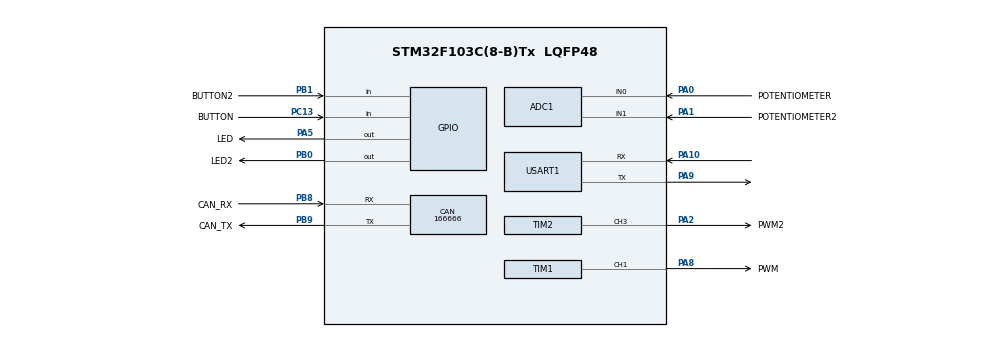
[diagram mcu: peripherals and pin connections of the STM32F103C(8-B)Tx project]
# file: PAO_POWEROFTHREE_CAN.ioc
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ADC1.Channel-0\#ChannelRegularConversion=ADC_CHANNEL_0
ADC1.NbrOfConversionFlag=1
ADC1.Rank-0\#ChannelRegularConversion=1
ADC1.SamplingTime-0\#ChannelRegularConversion=ADC_SAMPLETIME_1CYCLE_5
ADC1.master=1
CAN.CalculateBaudRate=166666
CAN.CalculateTimeBit=6000
CAN.CalculateTimeQuantum=2000.0
CAN.TTCM=DISABLE
Mcu.Family=STM32F1
Mcu.Name=STM32F103C(8-B)Tx
Mcu.Package=LQFP48
NVIC.PriorityGroup=NVIC_PRIORITYGROUP_4
PA0-WKUP.GPIO_Label=POTENTIOMETER
PA0-WKUP.Signal=ADCx_IN0
PA1.GPIO_Label=POTENTIOMETER2
PA1.Signal=ADCx_IN1
PA10.Mode=Asynchronous
PA10.Signal=USART1_RX
PA13.Mode=Serial_Wire
PA13.Signal=SYS_JTMS-SWDIO
PA14.Mode=Serial_Wire
PA14.Signal=SYS_JTCK-SWCLK
PA2.GPIO_Label=PWM2
PA2.Signal=S_TIM2_CH3
PA5.GPIO_Label=LED
PA5.Signal=GPIO_Output
PA8.GPIO_Label=PWM
PA8.Signal=S_TIM1_CH1
PA9.Mode=Asynchronous
PA9.Signal=USART1_TX
PB0.GPIO_Label=LED2
PB0.Signal=GPIO_Output
PB1.GPIO_Label=BUTTON2
PB1.GPIO_PuPd=GPIO_PULLUP
PB1.Signal=GPIO_Input
PB8.GPIO_Label=CAN_RX
PB8.Mode=CAN_Activate
PB8.Signal=CAN_RX
PB9.GPIO_Label=CAN_TX
PB9.Mode=CAN_Activate
PB9.Signal=CAN_TX
PC13-TAMPER-RTC.GPIO_Label=BUTTON
PC13-TAMPER-RTC.GPIO_PuPd=GPIO_PULLUP
PC13-TAMPER-RTC.Signal=GPIO_Input
ProjectManager.HeapSize=0x200
ProjectManager.StackSize=0x400
ProjectManager.TargetToolchain=CMake
RCC.APB1Freq_Value=8000000
RCC.APB2Freq_Value=8000000
SH.ADCx_IN0.0=ADC1_IN0,IN0
SH.ADCx_IN1.0=ADC1_IN1,IN1
SH.S_TIM1_CH1.0=TIM1_CH1,PWM Generation1 CH1
SH.S_TIM2_CH3.0=TIM2_CH3,PWM Generation3 CH3
TIM1.Channel-PWM\ Generation1\ CH1=TIM_CHANNEL_1
TIM2.Channel-PWM\ Generation3\ CH3=TIM_CHANNEL_3
USART1.VirtualMode=VM_ASYNC
board=custom

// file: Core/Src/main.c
/* USER CODE BEGIN Header */
/**
  ******************************************************************************
  * @file           : main.c
  * @brief          : Main program body
  ******************************************************************************
  * @attention
  *
  * Copyright (c) 2025 STMicroelectronics.
  * All rights reserved.
  *
  * This software is licensed under terms that can be found in the LICENSE file
  * in the root directory of this software component.
  * If no LICENSE file comes with this software, it is provided AS-IS.
  *
  ******************************************************************************
  */
/* USER CODE END Header */
#include "main.h"

/* USER CODE BEGIN PD */
#define BLINK_DELAY 500 // Blink interval in milliseconds
/* USER CODE END PD */

ADC_HandleTypeDef hadc1;

CAN_HandleTypeDef hcan;

TIM_HandleTypeDef htim1;
TIM_HandleTypeDef htim2;

UART_HandleTypeDef huart1;

/* USER CODE BEGIN PV */
// static uint8_t led_state = 0;         // LED state on PA5
// static uint32_t last_button_press = 0; // Debounce variable for first button
// static uint16_t adc_value = 0;         // ADC reading from PA0
// static uint32_t last_pwm_value = 0;    // Last PWM value for first potentiometer

// static uint8_t led2_state = 0;         // LED state on PB0
// static uint32_t last_button2_press = 0; // Debounce variable for second button
// static uint16_t adc2_value = 0;         // ADC reading from PA1
// static uint32_t last_pwm2_value = 0;    // Last PWM value for second potentiometer

static uint8_t led_state = 0;         // LED state on PA5 (0 = OFF, 1 = ON during blink)
static uint32_t last_button_press = 0; // Debounce variable for first button
static uint16_t adc_value = 0;         // ADC reading from PA0
static uint32_t last_pwm_value = 0;    // Last PWM value for first potentiometer
static uint32_t last_blink_time = 0;   // Time of last blink toggle
static uint8_t blink_enabled = 0;      // Flag to enable/disable blinking for first LED

static uint8_t led2_state = 0;         // LED state on PB0 (0 = OFF, 1 = ON during blink)
static uint32_t last_button2_press = 0; // Debounce variable for second button
static uint16_t adc2_value = 0;         // ADC reading from PA1
static uint32_t last_pwm2_value = 0;    // Last PWM value for second potentiometer
static uint32_t last_blink2_time = 0;   // Time of last blink toggle for second LED
static uint8_t blink2_enabled = 0;      // Flag to enable/disable blinking for second LED
/* USER CODE END PV */

void SystemClock_Config(void);
static void MX_GPIO_Init(void);
static void MX_ADC1_Init(void);
static void MX_TIM1_Init(void);
static void MX_USART1_UART_Init(void);
static void MX_CAN_Init(void);
static void MX_TIM2_Init(void);
/* USER CODE BEGIN PFP */
void send_can_message(uint32_t id, uint8_t *data, uint8_t len);

/* USER CODE END PFP */

int main(void)
{

  /* MCU Configuration--------------------------------------------------------*/

  /* Reset of all peripherals, Initializes the Flash interface and the Systick. */
  HAL_Init();

  /* Configure the system clock */
  SystemClock_Config();

  /* Initialize all configured peripherals */
  MX_GPIO_Init();
  MX_ADC1_Init();
  MX_TIM1_Init();
  MX_USART1_UART_Init();
  MX_CAN_Init();
  MX_TIM2_Init();
  /* USER CODE BEGIN 2 */
  HAL_TIM_PWM_Start(&htim1, TIM_CHANNEL_1); // Start PWM on PA8
  HAL_TIM_PWM_Start(&htim2, TIM_CHANNEL_3); // Start PWM on PA2 (TIM2_CH3)
  HAL_ADC_Start(&hadc1); // Start ADC on PA0
  if (HAL_CAN_Start(&hcan) != HAL_OK)
  {
    Error_Handler();
  }
  /* USER CODE END 2 */

  /* Infinite loop */
  while (1)
  {
// First Button and LED (Blink on/off toggle)
    if (HAL_GPIO_ReadPin(BUTTON_GPIO_Port, BUTTON_Pin) == GPIO_PIN_RESET &&
        (HAL_GetTick() - last_button_press) > 200)
    {
      last_button_press = HAL_GetTick();
      if (blink_enabled)
      {
        // Second press: Stop blinking and turn off
        blink_enabled = 0;
        led_state = 0;
        HAL_GPIO_WritePin(LED_GPIO_Port, LED_Pin, GPIO_PIN_RESET);
        char debug[32];
        snprintf(debug, sizeof(debug), "Button: OFF\r\n");
        HAL_UART_Transmit(&huart1, (uint8_t *)debug, strlen(debug), HAL_MAX_DELAY);
        uint8_t d = 0;
        send_can_message(0x101, &d, 1);
      }
      else
      {
        // First press: Start blinking
        blink_enabled = 1;
        last_blink_time = HAL_GetTick();
        char debug[32];
        snprintf(debug, sizeof(debug), "Button: BLINK\r\n");
        HAL_UART_Transmit(&huart1, (uint8_t *)debug, strlen(debug), HAL_MAX_DELAY);
        uint8_t d = 1;
        send_can_message(0x101, &d, 1);
      }
    }

    // Handle blinking for first LED
    if (blink_enabled && (HAL_GetTick() - last_blink_time) >= BLINK_DELAY)
    {
      led_state = !led_state; // Toggle LED state
      HAL_GPIO_WritePin(LED_GPIO_Port, LED_Pin, led_state ? GPIO_PIN_SET : GPIO_PIN_RESET);
      last_blink_time = HAL_GetTick();
    }

    // Second Button and LED (Blink on/off toggle)
    if (HAL_GPIO_ReadPin(BUTTON2_GPIO_Port, BUTTON2_Pin) == GPIO_PIN_RESET &&
        (HAL_GetTick() - last_button2_press) > 200)
    {
      last_button2_press = HAL_GetTick();
      if (blink2_enabled)
      {
        // Second press: Stop blinking and turn off
        blink2_enabled = 0;
        led2_state = 0;
        HAL_GPIO_WritePin(LED2_GPIO_Port, LED2_Pin, GPIO_PIN_RESET);
        char debug2[32];
        snprintf(debug2, sizeof(debug2), "Button2: OFF\r\n");
        HAL_UART_Transmit(&huart1, (uint8_t *)debug2, strlen(debug2), HAL_MAX_DELAY);
        uint8_t d2 = 0;
        send_can_message(0x103, &d2, 1);
      }
      else
      {
        // First press: Start blinking
        blink2_enabled = 1;
        last_blink2_time = HAL_GetTick();
        char debug2[32];
        snprintf(debug2, sizeof(debug2), "Button2: BLINK\r\n");
        HAL_UART_Transmit(&huart1, (uint8_t *)debug2, strlen(debug2), HAL_MAX_DELAY);
        uint8_t d2 = 1;
        send_can_message(0x103, &d2, 1);
      }
    }

    // Handle blinking for second LED
    if (blink2_enabled && (HAL_GetTick() - last_blink2_time) >= BLINK_DELAY)
    {
      led2_state = !led2_state; // Toggle LED state
      HAL_GPIO_WritePin(LED2_GPIO_Port, LED2_Pin, led2_state ? GPIO_PIN_SET : GPIO_PIN_RESET);
      last_blink2_time = HAL_GetTick();
    }

    // First Potentiometer and PWM (PA0, ADC1_IN0)
    if (HAL_ADC_PollForConversion(&hadc1, 10) == HAL_OK)
    {
      adc_value = HAL_ADC_GetValue(&hadc1);
      HAL_ADC_Start(&hadc1);

      uint32_t pwm = (adc_value * 1000) / 4095;
      __HAL_TIM_SET_COMPARE(&htim1, TIM_CHANNEL_1, pwm);

      if (abs((int)pwm - (int)last_pwm_value) > 10)
      {
        char dbg[48];
        snprintf(dbg, sizeof(dbg), "ADC:%u PWM:%lu\r\n", adc_value, pwm);
        HAL_UART_Transmit(&huart1, (uint8_t *)dbg, strlen(dbg), HAL_MAX_DELAY);

        uint8_t buf[4] = {
            (uint8_t)(adc_value >> 8),
            (uint8_t)(adc_value & 0xFF),
            (uint8_t)(pwm >> 8),
            (uint8_t)(pwm & 0xFF)};
        send_can_message(0x102, buf, 4);

        last_pwm_value = pwm;
      }
    }

    // Second Potentiometer and PWM (PA1, ADC1_IN1)
    if (HAL_ADC_PollForConversion(&hadc1, 10) == HAL_OK)
    {
      ADC_ChannelConfTypeDef sConfig = {0};
      sConfig.Channel = ADC_CHANNEL_1; // Switch to PA1
      sConfig.Rank = ADC_REGULAR_RANK_1;
      sConfig.SamplingTime = ADC_SAMPLETIME_1CYCLE_5;
      if (HAL_ADC_ConfigChannel(&hadc1, &sConfig) != HAL_OK)
      {
        Error_Handler();
      }

      adc2_value = HAL_ADC_GetValue(&hadc1);
      HAL_ADC_Start(&hadc1);

      uint32_t pwm2 = (adc2_value * 1000) / 4095;
      __HAL_TIM_SET_COMPARE(&htim2, TIM_CHANNEL_3, pwm2); // Use TIM2_CH3 on PA2

      if (abs((int)pwm2 - (int)last_pwm2_value) > 10)
      {
        char dbg2[48];
        snprintf(dbg2, sizeof(dbg2), "ADC2:%u PWM2:%lu\r\n", adc2_value, pwm2);
        HAL_UART_Transmit(&huart1, (uint8_t *)dbg2, strlen(dbg2), HAL_MAX_DELAY);

        uint8_t buf2[4] = {
            (uint8_t)(adc2_value >> 8),
            (uint8_t)(adc2_value & 0xFF),
            (uint8_t)(pwm2 >> 8),
            (uint8_t)(pwm2 & 0xFF)};
        send_can_message(0x104, buf2, 4);

        last_pwm2_value = pwm2;
      }

      // Switch back to PA0 for next cycle
      sConfig.Channel = ADC_CHANNEL_0;
      if (HAL_ADC_ConfigChannel(&hadc1, &sConfig) != HAL_OK)
      {
        Error_Handler();
      }
    }

    HAL_Delay(50);
  }
}

/**
  * @brief Send CAN message
  * @param id: CAN message ID
  * @param data: Pointer to data array
  * @param len: Length of data (1-8 bytes)
  * @retval None
  */
void send_can_message(uint32_t id, uint8_t *data, uint8_t len)
{
  CAN_TxHeaderTypeDef tx_header;
  uint32_t tx_mailbox;

  if (len < 1 || len > 8)
  {
    Error_Handler();
    return;
  }

  tx_header.StdId = id;
  tx_header.ExtId = 0;
  tx_header.IDE = CAN_ID_STD;
  tx_header.RTR = CAN_RTR_DATA;
  tx_header.DLC = len;
  tx_header.TransmitGlobalTime = DISABLE;

  if (HAL_CAN_AddTxMessage(&hcan, &tx_header, data, &tx_mailbox) != HAL_OK)
  {
#ifdef DEBUG
    HAL_UART_Transmit(&huart1, (uint8_t *)"CAN Tx Error\n", 12, HAL_MAX_DELAY);
#endif
    Error_Handler();
  }
}

void SystemClock_Config(void)
{
  RCC_OscInitTypeDef RCC_OscInitStruct = {0};
  RCC_ClkInitTypeDef RCC_ClkInitStruct = {0};
  RCC_PeriphCLKInitTypeDef PeriphClkInit = {0};

  /** Initializes the RCC Oscillators according to the specified parameters
  * in the RCC_OscInitTypeDef structure.
  */
  RCC_OscInitStruct.OscillatorType = RCC_OSCILLATORTYPE_HSI;
  RCC_OscInitStruct.HSIState = RCC_HSI_ON;
  RCC_OscInitStruct.HSICalibrationValue = RCC_HSICALIBRATION_DEFAULT;
  RCC_OscInitStruct.PLL.PLLState = RCC_PLL_NONE;
  if (HAL_RCC_OscConfig(&RCC_OscInitStruct) != HAL_OK)
  {
    Error_Handler();
  }

  /** Initializes the CPU, AHB and APB buses clocks
  */
  RCC_ClkInitStruct.ClockType = RCC_CLOCKTYPE_HCLK|RCC_CLOCKTYPE_SYSCLK
                              |RCC_CLOCKTYPE_PCLK1|RCC_CLOCKTYPE_PCLK2;
  RCC_ClkInitStruct.SYSCLKSource = RCC_SYSCLKSOURCE_HSI;
  RCC_ClkInitStruct.AHBCLKDivider = RCC_SYSCLK_DIV1;
  RCC_ClkInitStruct.APB1CLKDivider = RCC_HCLK_DIV1;
  RCC_ClkInitStruct.APB2CLKDivider = RCC_HCLK_DIV1;

  if (HAL_RCC_ClockConfig(&RCC_ClkInitStruct, FLASH_LATENCY_0) != HAL_OK)
  {
    Error_Handler();
  }
  PeriphClkInit.PeriphClockSelection = RCC_PERIPHCLK_ADC;
  PeriphClkInit.AdcClockSelection = RCC_ADCPCLK2_DIV2;
  if (HAL_RCCEx_PeriphCLKConfig(&PeriphClkInit) != HAL_OK)
  {
    Error_Handler();
  }
}

static void MX_ADC1_Init(void)
{

  ADC_ChannelConfTypeDef sConfig = {0};

  /** Common config
  */
  hadc1.Instance = ADC1;
  hadc1.Init.ScanConvMode = ADC_SCAN_DISABLE;
  hadc1.Init.ContinuousConvMode = DISABLE;
  hadc1.Init.DiscontinuousConvMode = DISABLE;
  hadc1.Init.ExternalTrigConv = ADC_SOFTWARE_START;
  hadc1.Init.DataAlign = ADC_DATAALIGN_RIGHT;
  hadc1.Init.NbrOfConversion = 1;
  if (HAL_ADC_Init(&hadc1) != HAL_OK)
  {
    Error_Handler();
  }

  /** Configure Regular Channel
  */
  sConfig.Channel = ADC_CHANNEL_0;
  sConfig.Rank = ADC_REGULAR_RANK_1;
  sConfig.SamplingTime = ADC_SAMPLETIME_1CYCLE_5;
  if (HAL_ADC_ConfigChannel(&hadc1, &sConfig) != HAL_OK)
  {
    Error_Handler();
  }

}

static void MX_CAN_Init(void)
{

  hcan.Instance = CAN1;
  hcan.Init.Mode = CAN_MODE_NORMAL;
  hcan.Init.SyncJumpWidth = CAN_SJW_1TQ;
  hcan.Init.Prescaler = 8;
  hcan.Init.TimeSeg1 = CAN_BS1_6TQ;
  hcan.Init.TimeSeg2 = CAN_BS2_1TQ;
  hcan.Init.TimeTriggeredMode = DISABLE;
  hcan.Init.AutoBusOff = DISABLE;
  hcan.Init.AutoWakeUp = DISABLE;
  hcan.Init.AutoRetransmission = DISABLE;
  hcan.Init.ReceiveFifoLocked = DISABLE;
  hcan.Init.TransmitFifoPriority = DISABLE;
  if (HAL_CAN_Init(&hcan) != HAL_OK)
  {
    Error_Handler();
  }

}

static void MX_TIM1_Init(void)
{

  TIM_MasterConfigTypeDef sMasterConfig = {0};
  TIM_OC_InitTypeDef sConfigOC = {0};
  TIM_BreakDeadTimeConfigTypeDef sBreakDeadTimeConfig = {0};

  htim1.Instance = TIM1;
  htim1.Init.Prescaler = 83;
  htim1.Init.CounterMode = TIM_COUNTERMODE_UP;
  htim1.Init.Period = 1000;
  htim1.Init.ClockDivision = TIM_CLOCKDIVISION_DIV1;
  htim1.Init.RepetitionCounter = 0;
  htim1.Init.AutoReloadPreload = TIM_AUTORELOAD_PRELOAD_DISABLE;
  if (HAL_TIM_PWM_Init(&htim1) != HAL_OK)
  {
    Error_Handler();
  }
  sMasterConfig.MasterOutputTrigger = TIM_TRGO_RESET;
  sMasterConfig.MasterSlaveMode = TIM_MASTERSLAVEMODE_DISABLE;
  if (HAL_TIMEx_MasterConfigSynchronization(&htim1, &sMasterConfig) != HAL_OK)
  {
    Error_Handler();
  }
  sConfigOC.OCMode = TIM_OCMODE_PWM1;
  sConfigOC.Pulse = 0;
  sConfigOC.OCPolarity = TIM_OCPOLARITY_HIGH;
  sConfigOC.OCNPolarity = TIM_OCNPOLARITY_HIGH;
  sConfigOC.OCFastMode = TIM_OCFAST_DISABLE;
  sConfigOC.OCIdleState = TIM_OCIDLESTATE_RESET;
  sConfigOC.OCNIdleState = TIM_OCNIDLESTATE_RESET;
  if (HAL_TIM_PWM_ConfigChannel(&htim1, &sConfigOC, TIM_CHANNEL_1) != HAL_OK)
  {
    Error_Handler();
  }
  sBreakDeadTimeConfig.OffStateRunMode = TIM_OSSR_DISABLE;
  sBreakDeadTimeConfig.OffStateIDLEMode = TIM_OSSI_DISABLE;
  sBreakDeadTimeConfig.LockLevel = TIM_LOCKLEVEL_OFF;
  sBreakDeadTimeConfig.DeadTime = 0;
  sBreakDeadTimeConfig.BreakState = TIM_BREAK_DISABLE;
  sBreakDeadTimeConfig.BreakPolarity = TIM_BREAKPOLARITY_HIGH;
  sBreakDeadTimeConfig.AutomaticOutput = TIM_AUTOMATICOUTPUT_DISABLE;
  if (HAL_TIMEx_ConfigBreakDeadTime(&htim1, &sBreakDeadTimeConfig) != HAL_OK)
  {
    Error_Handler();
  }
  HAL_TIM_MspPostInit(&htim1);

}

static void MX_TIM2_Init(void)
{

  TIM_MasterConfigTypeDef sMasterConfig = {0};
  TIM_OC_InitTypeDef sConfigOC = {0};

  htim2.Instance = TIM2;
  htim2.Init.Prescaler = 83;
  htim2.Init.CounterMode = TIM_COUNTERMODE_UP;
  htim2.Init.Period = 1000;
  htim2.Init.ClockDivision = TIM_CLOCKDIVISION_DIV1;
  htim2.Init.AutoReloadPreload = TIM_AUTORELOAD_PRELOAD_DISABLE;
  if (HAL_TIM_PWM_Init(&htim2) != HAL_OK)
  {
    Error_Handler();
  }
  sMasterConfig.MasterOutputTrigger = TIM_TRGO_RESET;
  sMasterConfig.MasterSlaveMode = TIM_MASTERSLAVEMODE_DISABLE;
  if (HAL_TIMEx_MasterConfigSynchronization(&htim2, &sMasterConfig) != HAL_OK)
  {
    Error_Handler();
  }
  sConfigOC.OCMode = TIM_OCMODE_PWM1;
  sConfigOC.Pulse = 0;
  sConfigOC.OCPolarity = TIM_OCPOLARITY_HIGH;
  sConfigOC.OCFastMode = TIM_OCFAST_DISABLE;
  if (HAL_TIM_PWM_ConfigChannel(&htim2, &sConfigOC, TIM_CHANNEL_3) != HAL_OK)
  {
    Error_Handler();
  }
  HAL_TIM_MspPostInit(&htim2);

}

static void MX_USART1_UART_Init(void)
{

  huart1.Instance = USART1;
  huart1.Init.BaudRate = 115200;
  huart1.Init.WordLength = UART_WORDLENGTH_8B;
  huart1.Init.StopBits = UART_STOPBITS_1;
  huart1.Init.Parity = UART_PARITY_NONE;
  huart1.Init.Mode = UART_MODE_TX_RX;
  huart1.Init.HwFlowCtl = UART_HWCONTROL_NONE;
  huart1.Init.OverSampling = UART_OVERSAMPLING_16;
  if (HAL_UART_Init(&huart1) != HAL_OK)
  {
    Error_Handler();
  }

}

static void MX_GPIO_Init(void)
{
  GPIO_InitTypeDef GPIO_InitStruct = {0};

  /* GPIO Ports Clock Enable */
  __HAL_RCC_GPIOC_CLK_ENABLE();
  __HAL_RCC_GPIOA_CLK_ENABLE();
  __HAL_RCC_GPIOB_CLK_ENABLE();

  /*Configure GPIO pin Output Level */
  HAL_GPIO_WritePin(LED_GPIO_Port, LED_Pin, GPIO_PIN_RESET);

  /*Configure GPIO pin Output Level */
  HAL_GPIO_WritePin(LED2_GPIO_Port, LED2_Pin, GPIO_PIN_RESET);

  /*Configure GPIO pin : BUTTON_Pin */
  GPIO_InitStruct.Pin = BUTTON_Pin;
  GPIO_InitStruct.Mode = GPIO_MODE_INPUT;
  GPIO_InitStruct.Pull = GPIO_PULLUP;
  HAL_GPIO_Init(BUTTON_GPIO_Port, &GPIO_InitStruct);

  /*Configure GPIO pin : LED_Pin */
  GPIO_InitStruct.Pin = LED_Pin;
  GPIO_InitStruct.Mode = GPIO_MODE_OUTPUT_PP;
  GPIO_InitStruct.Pull = GPIO_NOPULL;
  GPIO_InitStruct.Speed = GPIO_SPEED_FREQ_LOW;
  HAL_GPIO_Init(LED_GPIO_Port, &GPIO_InitStruct);

  /*Configure GPIO pin : LED2_Pin */
  GPIO_InitStruct.Pin = LED2_Pin;
  GPIO_InitStruct.Mode = GPIO_MODE_OUTPUT_PP;
  GPIO_InitStruct.Pull = GPIO_NOPULL;
  GPIO_InitStruct.Speed = GPIO_SPEED_FREQ_LOW;
  HAL_GPIO_Init(LED2_GPIO_Port, &GPIO_InitStruct);

  /*Configure GPIO pin : BUTTON2_Pin */
  GPIO_InitStruct.Pin = BUTTON2_Pin;
  GPIO_InitStruct.Mode = GPIO_MODE_INPUT;
  GPIO_InitStruct.Pull = GPIO_PULLUP;
  HAL_GPIO_Init(BUTTON2_GPIO_Port, &GPIO_InitStruct);

}

void Error_Handler(void)
{
  __disable_irq();
  while (1)
  {
  }
}
